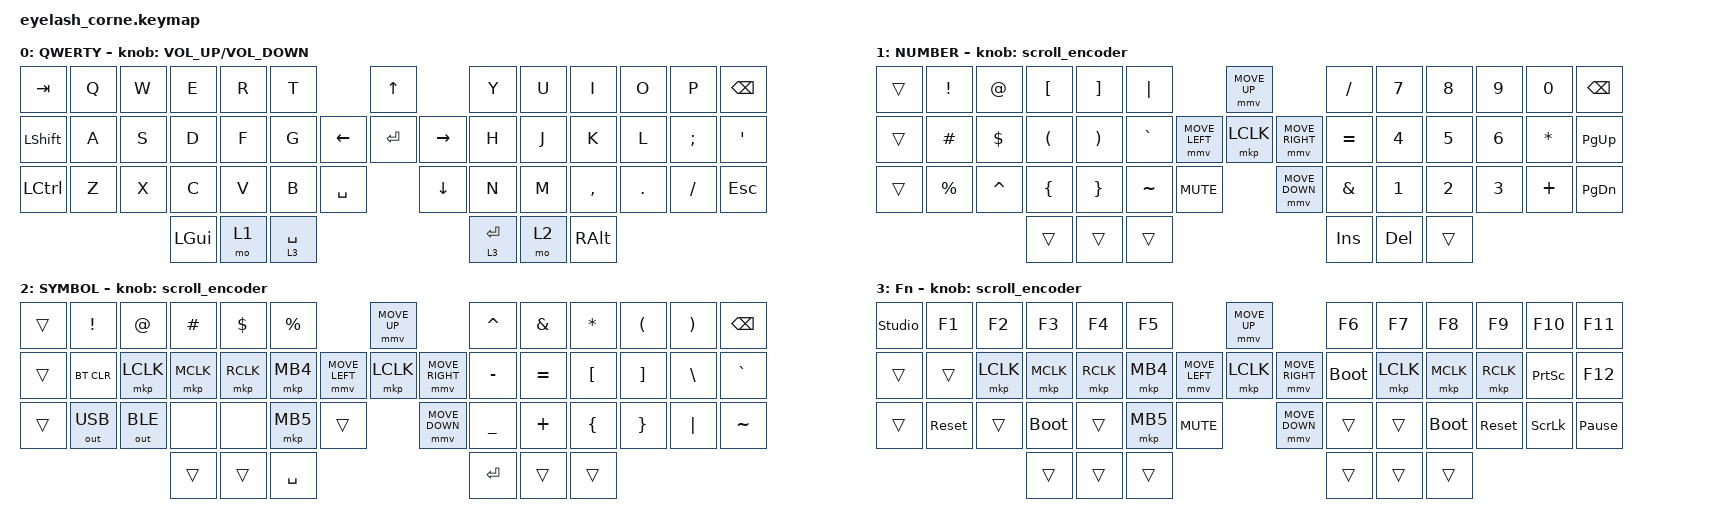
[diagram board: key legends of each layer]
#include <dt-bindings/zmk/mouse.h>
#include <input/processors.dtsi>
#include <behaviors.dtsi>
#include <dt-bindings/zmk/bt.h>
#include <dt-bindings/zmk/keys.h>
#include <dt-bindings/zmk/outputs.h>
#include <dt-bindings/zmk/pointing.h>
#include <dt-bindings/zmk/pointing.h>
#include <dt-bindings/zmk/pointing.h>
#include <dt-bindings/zmk/rgb.h>

/*

   &mmv_input_listener {
       input-processors = <&zip_xy_scaler 2 1>;
   };

   &msc_input_listener {
       input-processors = <&zip_xy_scaler 2 1>;
   };

 */

#define ZMK_MOUSE_DEFAULT_MOVE_VAL 1200  // 600
#define ZMK_MOUSE_DEFAULT_SCRL_VAL 20    // 10

/ {
    behaviors {
        td0: td0 {
            compatible = "zmk,behavior-tap-dance";
            display-name = "Shift/Caps Lock Tap Dance";
            #binding-cells = <0>;
            bindings = <&kp LEFT_SHIFT>, <&kp CAPS>;
        };
    };

    rgb_encoder: rgb_encoder {
        compatible = "zmk,behavior-sensor-rotate";
        #sensor-binding-cells = <0>;
        bindings = <&rgb_ug RGB_BRI>, <&rgb_ug RGB_BRD>;
    };

    scroll_encoder: scroll_encoder {
        compatible = "zmk,behavior-sensor-rotate";
        #sensor-binding-cells = <0>;
        bindings = <&msc SCRL_DOWN>, <&msc SCRL_UP>;

        tap-ms = <30>;
    };

    keymap {
        compatible = "zmk,keymap";

        default_layer {
            display-name = "QWERTY";
            bindings = <
&kp TAB         &kp Q  &kp W  &kp E     &kp R  &kp T                               &kp UP                &kp Y        &kp U  &kp I      &kp O    &kp P     &kp BSPC
&kp LEFT_SHIFT  &kp A  &kp S  &kp D     &kp F  &kp G                     &kp LEFT  &kp ENTER  &kp RIGHT  &kp H        &kp J  &kp K      &kp L    &kp SEMI  &kp SQT
&kp LCTRL       &kp Z  &kp X  &kp C     &kp V  &kp B        &kp SPACE              &kp DOWN              &kp N        &kp M  &kp COMMA  &kp DOT  &kp FSLH  &kp ESC
                              &kp LGUI  &mo 1  &lt 3 SPACE                                               &lt 3 ENTER  &mo 2  &kp RALT
            >;

            sensor-bindings = <&inc_dec_kp C_VOLUME_UP C_VOLUME_DOWN>;
        };

        lower_layer {
            display-name = "NUMBER";
            bindings = <
&trans  &kp EXCLAMATION  &kp AT_SIGN  &kp LEFT_BRACKET      &kp RIGHT_BRACKET      &kp PIPE                                 &mmv MOVE_UP                     &kp SLASH      &kp N7        &kp N8        &kp N9        &kp N0        &kp BSPC
&trans  &kp HASH         &kp DOLLAR   &kp LEFT_PARENTHESIS  &kp RIGHT_PARENTHESIS  &kp GRAVE                &mmv MOVE_LEFT  &mkp LCLK       &mmv MOVE_RIGHT  &kp EQUAL      &kp NUMBER_4  &kp N5        &kp NUMBER_6  &kp ASTERISK  &kp PG_UP
&trans  &kp PERCENT      &kp CARET    &kp LEFT_BRACE        &kp RIGHT_BRACE        &kp TILDE  &kp C_MUTE                    &mmv MOVE_DOWN                   &kp AMPERSAND  &kp NUMBER_1  &kp NUMBER_2  &kp NUMBER_3  &kp PLUS      &kp PG_DN
                                      &trans                &trans                 &trans                                                                    &kp INS        &kp DEL       &trans
            >;

            sensor-bindings = <&scroll_encoder>;
        };

        raise_layer {
            display-name = "SYMBOL";
            bindings = <
&trans  &kp EXCL      &kp AT        &kp HASH   &kp DLLR   &kp PRCNT                            &mmv MOVE_UP                     &kp CARET  &kp AMPS   &kp ASTRK  &kp LPAR  &kp RPAR  &kp BSPC
&trans  &bt BT_CLR    &mkp LCLK     &mkp MCLK  &mkp RCLK  &mkp MB4             &mmv MOVE_LEFT  &mkp LCLK       &mmv MOVE_RIGHT  &kp MINUS  &kp EQUAL  &kp LBKT   &kp RBKT  &kp BSLH  &kp GRAVE
&trans  &out OUT_USB  &out OUT_BLE  &none      &none      &mkp MB5   &trans                    &mmv MOVE_DOWN                   &kp UNDER  &kp PLUS   &kp LBRC   &kp RBRC  &kp PIPE  &kp TILDE
                                    &trans     &trans     &kp SPACE                                                             &kp RET    &trans     &trans
            >;

            sensor-bindings = <&scroll_encoder>;
        };

        layer_3 {
            display-name = "Fn";
            bindings = <
&studio_unlock  &kp F1      &kp F2     &kp F3       &kp F4     &kp F5                                  &mmv MOVE_UP                     &kp F6       &kp F7     &kp F8       &kp F9      &kp F10          &kp F11
&trans          &trans      &mkp LCLK  &mkp MCLK    &mkp RCLK  &mkp MB4                &mmv MOVE_LEFT  &mkp LCLK       &mmv MOVE_RIGHT  &bootloader  &mkp LCLK  &mkp MCLK    &mkp RCLK   &kp PRINTSCREEN  &kp F12
&trans          &sys_reset  &trans     &bootloader  &trans     &mkp MB5  &kp C_MUTE                    &mmv MOVE_DOWN                   &trans       &trans     &bootloader  &sys_reset  &kp SCROLLLOCK   &kp PAUSE_BREAK
                                       &trans       &trans     &trans                                                                   &trans       &trans     &trans
            >;

            sensor-bindings = <&scroll_encoder>;
        };
    };
};
